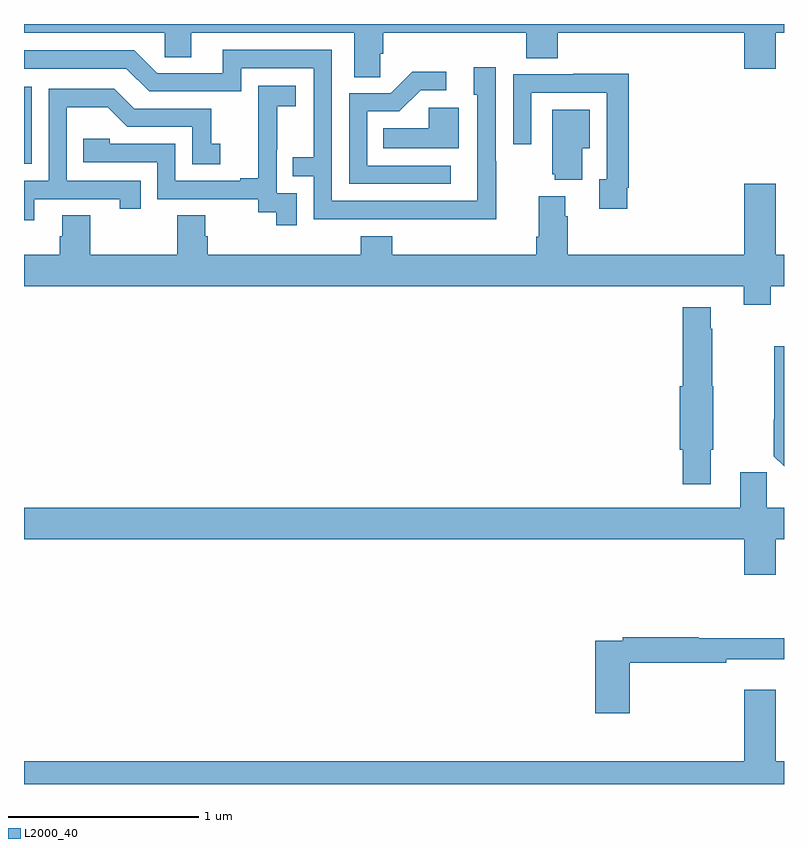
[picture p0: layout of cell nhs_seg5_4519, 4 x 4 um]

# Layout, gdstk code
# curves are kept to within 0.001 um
import gdstk
lib = gdstk.Library(unit=1e-6, precision=1e-09)
def R(c, l, rs):  # rectangles x0, y0, x1, y1
    for r in rs: c.add(gdstk.rectangle(r[:2], r[2:], *l))
def P(c, l, *ps):  # polygons
    for p in ps: c.add(gdstk.Polygon(p, *l))
L2000_40 = (2000, 40)

nhs_seg5_4519 = lib.new_cell('nhs_seg5_4519')
R(nhs_seg5_4519, L2000_40, [(377,864.063,377.04,864.469)])
P(nhs_seg5_4519, L2000_40, [(377,864.752),(377.742,864.752),(377.742,864.625),(377.881,864.625),(377.881,864.752),(378.737,864.752),(378.737,864.52),(378.876,864.52),(378.876,864.643),(378.89,864.643),(378.89,864.752),(379.643,864.752),(379.643,864.619),(379.808,864.619),(379.808,864.752),(380.792,864.752),(380.792,864.564),(380.956,864.564),(380.956,864.752),(381,864.752),(381,864.799),(377,864.799)],
  [(379.485,864.077),(379.482,864.077),(379.482,864.571),(379.367,864.571),(379.367,864.426),(379.386,864.426),(379.385,863.868),(378.621,863.868),(378.621,864.663),(378.047,864.663),(378.047,864.54),(377.7,864.54),(377.58,864.66),(377,864.66),(377,864.564),(377.538,864.564),(377.658,864.444),(378.144,864.444),(378.144,864.567),(378.525,864.567),(378.525,864.098),(378.415,864.098),(378.415,863.997),(378.525,863.997),(378.525,863.772),(379.485,863.771)],
  [(379.246,864.054),(378.807,864.054),(378.807,864.339),(378.976,864.339),(379.087,864.45),(379.222,864.45),(379.222,864.548),(379.043,864.548),(378.93,864.435),(378.711,864.435),(378.711,863.958),(379.246,863.958)],
  [(380.176,863.938),(380.183,863.938),(380.183,864.536),(379.891,864.536),(379.891,864.534),(379.575,864.534),(379.575,864.165),(379.671,864.165),(379.671,864.438),(380.067,864.438),(380.067,863.982),(380.027,863.982),(380.027,863.826),(380.176,863.826)],
  [(378.435,863.907),(378.33,863.907),(378.33,864.137),(378.332,864.137),(378.332,864.365),(378.43,864.365),(378.43,864.475),(378.232,864.475),(378.232,864.269),(378.233,864.269),(378.233,863.986),(378.137,863.986),(378.137,863.973),(377.796,863.973),(377.796,864.168),(377.451,864.168),(377.451,864.195),(377.311,864.195),(377.311,864.072),(377.7,864.072),(377.7,863.877),(378.234,863.877),(378.234,863.809),(378.327,863.809),(378.327,863.739),(378.435,863.739)],
  [(377.053,863.877),(377.504,863.877),(377.504,863.826),(377.615,863.826),(377.615,863.973),(377.226,863.973),(377.226,864.362),(377.44,864.362),(377.544,864.258),(377.886,864.258),(377.886,864.06),(378.034,864.06),(378.034,864.169),(377.985,864.169),(377.985,864.354),(377.581,864.354),(377.476,864.459),(377.13,864.459),(377.13,863.973),(377,863.973),(377,863.766),(377.053,863.766)],
  [(379.288,864.358),(379.131,864.358),(379.131,864.25),(378.892,864.25),(378.892,864.146),(379.288,864.146)],
  [(379.939,864.146),(379.978,864.146),(379.978,864.349),(379.781,864.349),(379.781,864.009),(379.793,864.009),(379.793,863.978),(379.939,863.978)],
  [(380.929,863.42),(381,863.42),(381,863.584),(380.956,863.584),(380.956,863.959),(380.792,863.959),(380.792,863.584),(379.862,863.584),(379.862,863.786),(379.849,863.786),(379.849,863.893),(379.709,863.893),(379.709,863.68),(379.697,863.68),(379.697,863.584),(378.938,863.584),(378.938,863.683),(378.773,863.683),(378.773,863.584),(377.966,863.584),(377.966,863.682),(377.953,863.682),(377.953,863.792),(377.806,863.792),(377.806,863.584),(377.349,863.584),(377.349,863.792),(377.201,863.792),(377.201,863.682),(377.189,863.682),(377.189,863.584),(377,863.584),(377,863.42),(380.789,863.42),(380.789,863.321),(380.929,863.321)],
  [(380.614,862.557),(380.628,862.557),(380.628,862.893),(380.622,862.893),(380.622,863.195),(380.614,863.195),(380.614,863.308),(380.468,863.308),(380.468,862.893),(380.45,862.893),(380.45,862.557),(380.468,862.557),(380.468,862.377),(380.614,862.377)],
  [(381,863.103),(380.949,863.103),(380.949,862.715),(380.946,862.715),(380.946,862.524),(381,862.471)],
  [(380.956,862.088),(381,862.088),(381,862.252),(380.909,862.252),(380.909,862.44),(380.771,862.44),(380.771,862.252),(377,862.252),(377,862.088),(380.792,862.088),(380.792,861.9),(380.956,861.9)],
  [(380.189,861.436),(380.696,861.436),(380.696,861.455),(381,861.455),(381,861.565),(380.552,861.565),(380.552,861.572),(380.152,861.572),(380.152,861.552),(380.006,861.552),(380.006,861.171),(380.189,861.171)],
  [(381,860.92),(380.956,860.92),(380.956,861.295),(380.792,861.295),(380.792,860.92),(377,860.92),(377,860.799),(381,860.799)])

lib.write_gds('nhs_seg5_4519.gds')
